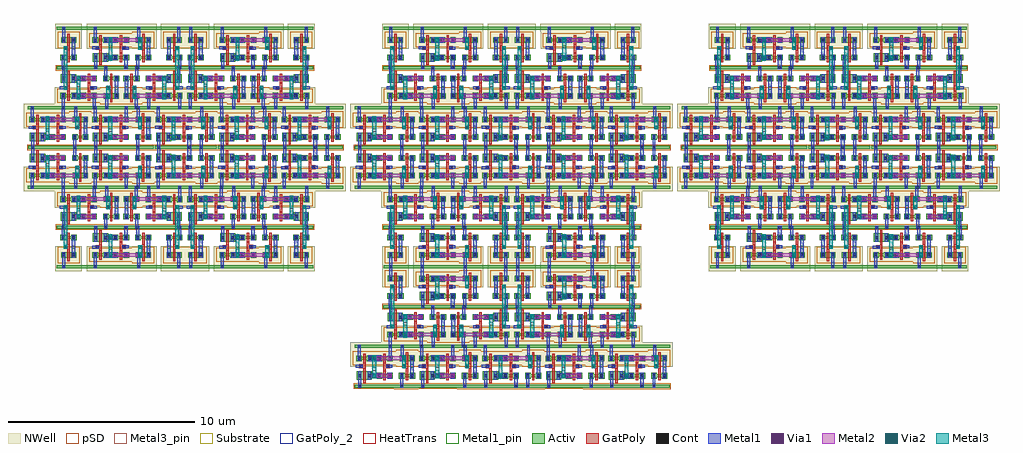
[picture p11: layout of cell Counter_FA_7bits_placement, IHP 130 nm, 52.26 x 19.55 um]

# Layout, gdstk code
from math import pi, radians
import gdstk
lib = gdstk.Library(unit=1e-6, precision=5e-09)
def R(c, l, rs):  # rectangles x0, y0, x1, y1
    for r in rs: c.add(gdstk.rectangle(r[:2], r[2:], *l))
Activ = (1, 0)
GatPoly = (5, 0)
GatPoly_2 = (5, 2)
Cont = (6, 0)
Metal1 = (8, 0)
Metal1_pin = (8, 2)
Metal2 = (10, 0)
pSD = (14, 0)
Via1 = (19, 0)
Via2 = (29, 0)
Metal3 = (30, 0)
Metal3_pin = (30, 2)
NWell = (31, 0)
Substrate = (40, 0)
HeatTrans = (51, 0)

pmos_8 = lib.new_cell('pmos$8')
R(pmos_8, Activ, [(0,0,0.3,0.3), (0.57,0,0.87,0.3), (0,0.075,0.87,0.225)])
R(pmos_8, GatPoly, [(0.37,-0.105,0.5,0.405), (0.37,-0.105,0.5,0.405)])
R(pmos_8, Cont, [(0.07,0.07,0.23,0.23), (0.64,0.07,0.8,0.23)])
R(pmos_8, Metal1, [(0.07,0.02,0.23,0.28), (0.07,0.02,0.23,0.28), (0.64,0.02,0.8,0.28), (0.64,0.02,0.8,0.28)])
R(pmos_8, pSD, [(-0.18,-0.225,1.05,0.525)])
R(pmos_8, NWell, [(-0.31,-0.31,1.18,0.61)])
R(pmos_8, Substrate, [(0.57,0,0.87,0.3)])
R(pmos_8, HeatTrans, [(0.37,-0.105,0.5,0.405)])
pmos_8.add(gdstk.Label('pmos', (0.435,0.15), layer=63, texttype=0))
pmos_8.add(gdstk.Label('pmos', (0.435,0.15), layer=51, texttype=0))

nmos_13 = lib.new_cell('nmos$13')
R(nmos_13, Activ, [(0,0,0.3,0.3), (0,0,0.81,0.45), (0.51,0,0.81,0.3)])
R(nmos_13, GatPoly, [(0.34,-0.18,0.47,0.63)])
R(nmos_13, GatPoly_2, [(0.34,-0.18,0.47,0.63)])
R(nmos_13, Cont, [(0.07,0.145,0.23,0.305), (0.58,0.145,0.74,0.305)])
R(nmos_13, Metal1, [(0.07,0,0.23,0.45), (0.58,0,0.74,0.45)])
R(nmos_13, Metal1_pin, [(0.07,0,0.23,0.45), (0.58,0,0.74,0.45)])
R(nmos_13, HeatTrans, [(0.34,-0.18,0.47,0.63)])
nmos_13.add(gdstk.Label('nmos', (0.405,0.225), layer=63, texttype=0))
nmos_13.add(gdstk.Label('nmos', (0.405,0.225), layer=51, texttype=0))

nmos_3_6 = lib.new_cell('nmos$3$6')
R(nmos_3_6, Activ, [(0,0,0.3,0.3), (0.57,0,0.87,0.3), (0,0.075,0.87,0.225)])
R(nmos_3_6, GatPoly, [(0.37,-0.105,0.5,0.405)])
R(nmos_3_6, GatPoly_2, [(0.37,-0.105,0.5,0.405)])
R(nmos_3_6, Cont, [(0.07,0.07,0.23,0.23), (0.64,0.07,0.8,0.23)])
R(nmos_3_6, Metal1, [(0.07,0.02,0.23,0.28), (0.64,0.02,0.8,0.28)])
R(nmos_3_6, Metal1_pin, [(0.07,0.02,0.23,0.28), (0.64,0.02,0.8,0.28)])
R(nmos_3_6, HeatTrans, [(0.37,-0.105,0.5,0.405)])
nmos_3_6.add(gdstk.Label('nmos', (0.435,0.15), layer=63, texttype=0))
nmos_3_6.add(gdstk.Label('nmos', (0.435,0.15), layer=51, texttype=0))

via1_constraint = lib.new_cell('Via1_constraint')
R(via1_constraint, Metal1, [(0,0,0.2,0.2)])
R(via1_constraint, Metal2, [(0,0,0.2,0.2)])
R(via1_constraint, Via1, [(0.005,0.005,0.195,0.195)])

via2_constraint = lib.new_cell('Via2_constraint')
R(via2_constraint, Metal2, [(-0.005,-0.005,0.195,0.195)])
R(via2_constraint, Via2, [(0,0,0.19,0.19)])
R(via2_constraint, Metal3, [(-0.005,-0.005,0.195,0.195)])

nand = lib.new_cell('NAND')
R(nand, Activ, [(-0.075,-0.175,2.075,-0.015), (-0.085,1.955,2.095,2.115)])
R(nand, GatPoly, [(1.45,0.615,1.58,1.16), (0.16,0.875,0.36,1.075), (0.36,0.875,0.49,1.145), (1.58,0.875,1.78,1.075)])
R(nand, Cont, [(0.09,-0.175,0.25,-0.015), (0.18,0.895,0.34,1.055), (1.595,0.895,1.755,1.055), (0.06,1.955,0.22,2.115), (1.72,1.955,1.88,2.115)])
R(nand, Metal1, [(0.09,-0.175,0.25,0.245), (1.69,0.315,1.89,0.615), (0.76,0.335,1.31,0.595), (0.18,0.895,0.34,1.055), (1.595,0.895,1.755,1.055), (0.625,1.25,1.325,1.55), (0.06,1.525,0.22,2.115), (1.72,1.525,1.88,2.115)])
R(nand, Metal1_pin, [(0.09,-0.175,0.25,-0.015), (0.18,0.895,0.34,1.055), (1.595,0.895,1.755,1.055), (0.06,1.955,0.22,2.115), (1.72,1.955,1.88,2.115)])
R(nand, Metal2, [(0.825,0.36,1.89,0.56)])
R(nand, pSD, [(-0.13,-0.24,2.115,0.06)])
R(nand, Metal3, [(0.855,0.325,1.055,1.57)])
R(nand, Metal3_pin, [(0.855,0.74,1.055,0.905)])
R(nand, NWell, [(-0.325,1.855,2.26,2.26)])
nand.add(gdstk.Reference(pmos_8, (1.95,1.245), rotation=pi, x_reflection=True))
nand.add(gdstk.Reference(nmos_13, (0.83,0.245), rotation=pi, x_reflection=True))
nand.add(gdstk.Reference(nmos_3_6, (1.95,0.315), rotation=pi, x_reflection=True))
nand.add(gdstk.Reference(pmos_8, (0.86,1.245), rotation=pi, x_reflection=True))
nand.add(gdstk.Reference(via1_constraint, (1.69,0.36)))
nand.add(gdstk.Reference(via2_constraint, (0.86,0.365)))
nand.add(gdstk.Reference(via2_constraint, (0.86,1.305)))
nand.add(gdstk.Reference(via1_constraint, (0.855,1.3)))
nand.add(gdstk.Label('VA', (1.63,1.035), layer=8, texttype=2))
nand.add(gdstk.Label('VSS', (0.16,-0.05), layer=8, texttype=2))
nand.add(gdstk.Label('VDD', (0.085,2.075), layer=8, texttype=2))
nand.add(gdstk.Label('VDD', (1.745,2.075), layer=8, texttype=2))
nand.add(gdstk.Label('VB', (0.215,1.025), layer=8, texttype=2))
nand.add(gdstk.Label('VB', (0.295,1.015), layer=8, texttype=25))
nand.add(gdstk.Label('VOUT', (0.97,0.84), layer=30, texttype=2))

nmos_1_4 = lib.new_cell('nmos$1$4')
R(nmos_1_4, Activ, [(0,-0.145,0.3,0.155), (0.57,-0.145,0.87,0.155), (0,-0.07,0.87,0.08)])
R(nmos_1_4, GatPoly, [(0.37,-0.25,0.5,0.405)])
R(nmos_1_4, Cont, [(0.07,-0.075,0.23,0.085), (0.64,-0.075,0.8,0.085)])
R(nmos_1_4, Metal1, [(0.07,-0.125,0.23,0.135), (0.64,-0.125,0.8,0.135)])
R(nmos_1_4, Metal1_pin, [(0.07,-0.125,0.23,0.135), (0.64,-0.125,0.8,0.135)])
R(nmos_1_4, HeatTrans, [(0.37,-0.25,0.5,0.405)])
nmos_1_4.add(gdstk.Label('nmos', (0.435,0.005), layer=63, texttype=0))
nmos_1_4.add(gdstk.Label('nmos', (0.435,0.005), layer=51, texttype=0))

pmos_1_4 = lib.new_cell('pmos$1$4')
R(pmos_1_4, Activ, [(0,0,0.3,0.3), (0,0,0.81,0.3), (0.51,0,0.81,0.3)])
R(pmos_1_4, GatPoly, [(0.34,-0.18,0.47,0.48), (0.34,-0.18,0.47,0.48)])
R(pmos_1_4, Cont, [(0.07,0.07,0.23,0.23), (0.58,0.07,0.74,0.23)])
R(pmos_1_4, Metal1, [(0.07,0,0.23,0.3), (0.07,0,0.23,0.3), (0.58,0,0.74,0.3), (0.58,0,0.74,0.3)])
R(pmos_1_4, pSD, [(-0.18,-0.3,0.99,0.6)])
R(pmos_1_4, NWell, [(-0.31,-0.315,1.12,0.61)])
R(pmos_1_4, Substrate, [(0.51,0,0.81,0.3)])
R(pmos_1_4, HeatTrans, [(0.34,-0.18,0.47,0.48)])
pmos_1_4.add(gdstk.Label('pmos', (0.405,0.15), layer=63, texttype=0))
pmos_1_4.add(gdstk.Label('pmos', (0.405,0.15), layer=51, texttype=0))

inv_d1_4 = lib.new_cell('INV_D1$4')
R(inv_d1_4, Activ, [(-0.655,-1.24,0.555,-1.08), (-0.64,0.89,0.575,1.05)])
R(inv_d1_4, GatPoly, [(-0.075,-0.2,0.055,0.005), (-0.275,-0.19,-0.075,0.01)])
R(inv_d1_4, Cont, [(-0.375,-1.24,-0.215,-1.08), (-0.255,-0.17,-0.095,-0.01), (-0.345,0.89,-0.185,1.05)])
R(inv_d1_4, Metal1, [(-0.375,-1.24,-0.215,-0.73), (0.165,-0.73,0.355,0.485), (-0.255,-0.17,-0.095,-0.01), (-0.345,0.485,-0.185,1.05)])
R(inv_d1_4, Metal1_pin, [(-0.375,-1.24,-0.215,-1.08), (-0.255,-0.17,-0.095,-0.01), (0.165,-0.17,0.355,0.01), (-0.345,0.89,-0.185,1.05)])
R(inv_d1_4, pSD, [(-0.705,-1.315,0.6,-1.015)])
R(inv_d1_4, NWell, [(-0.725,0.795,0.705,1.195)])
inv_d1_4.add(gdstk.Reference(nmos_1_4, (-0.445,-0.605)))
inv_d1_4.add(gdstk.Reference(pmos_1_4, (-0.415,0.185)))
inv_d1_4.add(gdstk.Label('VDD', (-0.215,1.025), layer=8, texttype=2))
inv_d1_4.add(gdstk.Label('VSS', (-0.26,-1.105), layer=8, texttype=2))
inv_d1_4.add(gdstk.Label('VIN', (-0.155,-0.05), layer=8, texttype=2))
inv_d1_4.add(gdstk.Label('VOUT', (0.315,-0.025), layer=8, texttype=2))
inv_d1_4.add(gdstk.Label('VIN', (-0.23,-0.145), layer=8, texttype=25))

and_ = lib.new_cell('AND')
R(and_, Metal1, [(0.285,1.145,0.665,1.305), (1.92,1.145,2.25,1.305)])
R(and_, Metal2, [(1.165,1.55,3,1.75)])
R(and_, Metal3, [(2.775,1.125,2.975,1.805)])
and_.add(gdstk.Reference(nand, (0.325,0.25)))
and_.add(gdstk.Reference(inv_d1_4, (3.05,1.315)))
and_.add(gdstk.Reference(via2_constraint, (2.78,1.555)))
and_.add(gdstk.Reference(via1_constraint, (2.775,1.125)))
and_.add(gdstk.Reference(via2_constraint, (2.78,1.125)))
and_.add(gdstk.Label('VB', (0.315,1.165), layer=8, texttype=25))
and_.add(gdstk.Label('VDD', (0.48,2.22), layer=8, texttype=25))
and_.add(gdstk.Label('VSS', (0.505,0.095), layer=8, texttype=25))
and_.add(gdstk.Label('VA', (2.2,1.155), layer=8, texttype=25))
and_.add(gdstk.Label('VOUT', (3.39,1.165), layer=8, texttype=25))

pmos_2_5 = lib.new_cell('pmos$2$5')
R(pmos_2_5, Activ, [(0,0,0.3,0.3), (0.57,0,0.87,0.3), (0,0.075,0.87,0.225)])
R(pmos_2_5, GatPoly, [(0.37,-0.105,0.5,0.405), (0.37,-0.105,0.5,0.405)])
R(pmos_2_5, Cont, [(0.07,0.07,0.23,0.23), (0.64,0.07,0.8,0.23)])
R(pmos_2_5, Metal1, [(0.07,0.02,0.23,0.28), (0.07,0.02,0.23,0.28), (0.64,0.02,0.8,0.28), (0.64,0.02,0.8,0.28)])
R(pmos_2_5, pSD, [(-0.18,-0.225,1.05,0.525)])
R(pmos_2_5, NWell, [(-0.31,-0.31,1.18,0.61)])
R(pmos_2_5, Substrate, [(0.57,0,0.87,0.3)])
R(pmos_2_5, HeatTrans, [(0.37,-0.105,0.5,0.405)])
pmos_2_5.add(gdstk.Label('pmos', (0.435,0.15), layer=63, texttype=0))
pmos_2_5.add(gdstk.Label('pmos', (0.435,0.15), layer=51, texttype=0))

nmos_2_1_3 = lib.new_cell('nmos$2$1$3')
R(nmos_2_1_3, Activ, [(0,0,0.3,0.3), (0,0,0.81,0.45), (0.51,0,0.81,0.3)])
R(nmos_2_1_3, GatPoly, [(0.34,-0.18,0.47,0.63)])
R(nmos_2_1_3, GatPoly_2, [(0.34,-0.18,0.47,0.63)])
R(nmos_2_1_3, Cont, [(0.07,0.145,0.23,0.305), (0.58,0.145,0.74,0.305)])
R(nmos_2_1_3, Metal1, [(0.07,0,0.23,0.45), (0.58,0,0.74,0.45)])
R(nmos_2_1_3, Metal1_pin, [(0.07,0,0.23,0.45), (0.58,0,0.74,0.45)])
R(nmos_2_1_3, HeatTrans, [(0.34,-0.18,0.47,0.63)])
nmos_2_1_3.add(gdstk.Label('nmos', (0.405,0.225), layer=63, texttype=0))
nmos_2_1_3.add(gdstk.Label('nmos', (0.405,0.225), layer=51, texttype=0))

nmos_3_1_3 = lib.new_cell('nmos$3$1$3')
R(nmos_3_1_3, Activ, [(0,0,0.3,0.3), (0.57,0,0.87,0.3), (0,0.075,0.87,0.225)])
R(nmos_3_1_3, GatPoly, [(0.37,-0.105,0.5,0.405)])
R(nmos_3_1_3, GatPoly_2, [(0.37,-0.105,0.5,0.405)])
R(nmos_3_1_3, Cont, [(0.07,0.07,0.23,0.23), (0.64,0.07,0.8,0.23)])
R(nmos_3_1_3, Metal1, [(0.07,0.02,0.23,0.28), (0.64,0.02,0.8,0.28)])
R(nmos_3_1_3, Metal1_pin, [(0.07,0.02,0.23,0.28), (0.64,0.02,0.8,0.28)])
R(nmos_3_1_3, HeatTrans, [(0.37,-0.105,0.5,0.405)])
nmos_3_1_3.add(gdstk.Label('nmos', (0.435,0.15), layer=63, texttype=0))
nmos_3_1_3.add(gdstk.Label('nmos', (0.435,0.15), layer=51, texttype=0))

via2_constraint_1 = lib.new_cell('Via2_constraint$1')
R(via2_constraint_1, Metal2, [(0,0,0.2,0.2)])
R(via2_constraint_1, Via2, [(0.005,0.005,0.195,0.195)])
R(via2_constraint_1, Metal3, [(0,0,0.2,0.2)])

via1_constraint_1 = lib.new_cell('Via1_constraint$1')
R(via1_constraint_1, Metal1, [(0,0,0.2,0.2)])
R(via1_constraint_1, Metal2, [(0,0,0.2,0.2)])
R(via1_constraint_1, Via1, [(0.005,0.005,0.195,0.195)])

nor = lib.new_cell('NOR')
R(nor, Activ, [(-0.065,-0.175,2.06,-0.015), (-0.085,1.955,2.07,2.115)])
R(nor, GatPoly, [(1.45,0.615,1.58,1.16), (1.58,0.865,1.78,1.065), (0.16,0.875,0.36,1.075), (0.36,0.875,0.49,1.145)])
R(nor, Cont, [(0.09,-0.175,0.25,-0.015), (1.71,-0.175,1.87,-0.015), (1.595,0.885,1.755,1.045), (0.18,0.895,0.34,1.055), (0.06,1.95,0.22,2.11)])
R(nor, Metal1, [(0.09,-0.175,0.25,0.245), (1.69,-0.175,1.89,0.315), (1.69,0.315,1.89,0.615), (0.6,0.335,1.31,0.595), (1.595,0.885,1.755,1.045), (0.18,0.895,0.34,1.055), (0.625,1.25,1.325,1.55), (1.705,1.265,1.895,1.525), (0.06,1.525,0.22,2.11)])
R(nor, Metal1_pin, [(0.09,-0.175,0.25,-0.015), (1.71,-0.175,1.87,-0.015), (1.595,0.885,1.755,1.045), (0.18,0.895,0.34,1.055), (0.06,1.95,0.22,2.11)])
R(nor, Metal2, [(0.845,1.3,1.895,1.5)])
R(nor, pSD, [(-0.13,-0.25,2.115,0.05)])
R(nor, Via1, [(1.705,1.31,1.895,1.5)])
R(nor, Metal3, [(0.855,0.295,1.055,1.54)])
R(nor, Metal3_pin, [(0.855,0.96,1.055,1.125)])
R(nor, NWell, [(-0.325,1.855,2.26,2.26)])
nor.add(gdstk.Reference(pmos_2_5, (1.95,1.245), rotation=pi, x_reflection=True))
nor.add(gdstk.Reference(nmos_2_1_3, (0.83,0.245), rotation=pi, x_reflection=True))
nor.add(gdstk.Reference(nmos_3_1_3, (1.95,0.315), rotation=pi, x_reflection=True))
nor.add(gdstk.Reference(pmos_2_5, (0.86,1.245), rotation=pi, x_reflection=True))
nor.add(gdstk.Reference(via2_constraint_1, (0.855,1.5), x_reflection=True))
nor.add(gdstk.Reference(via2_constraint_1, (0.855,0.565), x_reflection=True))
nor.add(gdstk.Reference(via1_constraint_1, (0.855,0.565), x_reflection=True))
nor.add(gdstk.Label('VB', (1.625,0.965), layer=8, texttype=2))
nor.add(gdstk.Label('VA', (0.235,0.975), layer=8, texttype=2))
nor.add(gdstk.Label('VSS', (1.78,-0.05), layer=8, texttype=2))
nor.add(gdstk.Label('VDD', (0.085,2.07), layer=8, texttype=2))
nor.add(gdstk.Label('VSS', (0.16,-0.05), layer=8, texttype=2))
nor.add(gdstk.Label('VB', (1.705,0.955), layer=8, texttype=25))
nor.add(gdstk.Label('VOUT', (0.97,1.025), layer=30, texttype=2))

pmos_1_1_3 = lib.new_cell('pmos$1$1$3')
R(pmos_1_1_3, Activ, [(0,0,0.3,0.3), (0,0,0.81,0.3), (0.51,0,0.81,0.3)])
R(pmos_1_1_3, GatPoly, [(0.34,-0.18,0.47,0.48), (0.34,-0.18,0.47,0.48)])
R(pmos_1_1_3, Cont, [(0.07,0.07,0.23,0.23), (0.58,0.07,0.74,0.23)])
R(pmos_1_1_3, Metal1, [(0.07,0,0.23,0.3), (0.07,0,0.23,0.3), (0.58,0,0.74,0.3), (0.58,0,0.74,0.3)])
R(pmos_1_1_3, pSD, [(-0.18,-0.3,0.99,0.6)])
R(pmos_1_1_3, NWell, [(-0.31,-0.315,1.12,0.61)])
R(pmos_1_1_3, Substrate, [(0.51,0,0.81,0.3)])
R(pmos_1_1_3, HeatTrans, [(0.34,-0.18,0.47,0.48)])
pmos_1_1_3.add(gdstk.Label('pmos', (0.405,0.15), layer=63, texttype=0))
pmos_1_1_3.add(gdstk.Label('pmos', (0.405,0.15), layer=51, texttype=0))

inv_d1_1_3 = lib.new_cell('INV_D1$1$3')
R(inv_d1_1_3, Activ, [(-0.68,-1.24,0.54,-1.08), (-0.655,0.89,0.575,1.05)])
R(inv_d1_1_3, GatPoly, [(-0.075,-0.2,0.055,0.005), (-0.275,-0.19,-0.075,0.01)])
R(inv_d1_1_3, Cont, [(-0.375,-1.24,-0.215,-1.08), (-0.255,-0.17,-0.095,-0.01), (-0.345,0.89,-0.185,1.05)])
R(inv_d1_1_3, Metal1, [(-0.375,-1.24,-0.215,-0.73), (0.165,-0.73,0.355,0.485), (-0.255,-0.17,-0.095,-0.01), (-0.345,0.485,-0.185,1.05)])
R(inv_d1_1_3, Metal1_pin, [(-0.375,-1.24,-0.215,-1.08), (-0.255,-0.17,-0.095,-0.01), (0.165,-0.17,0.355,0.01), (-0.345,0.89,-0.185,1.05)])
R(inv_d1_1_3, pSD, [(-0.705,-1.315,0.6,-1.015)])
R(inv_d1_1_3, NWell, [(-0.725,0.795,0.705,1.195)])
R(inv_d1_1_3, Substrate, [(0.095,0.185,0.395,0.485)])
inv_d1_1_3.add(gdstk.Reference(pmos_1_1_3, (-0.415,0.185)))
inv_d1_1_3.add(gdstk.Reference(nmos_1_4, (-0.445,-0.605)))
inv_d1_1_3.add(gdstk.Label('nmos', (-0.015,-0.75), layer=63, texttype=0))
inv_d1_1_3.add(gdstk.Label('VSS', (-0.26,-1.105), layer=8, texttype=2))
inv_d1_1_3.add(gdstk.Label('VDD', (-0.215,1.025), layer=8, texttype=2))
inv_d1_1_3.add(gdstk.Label('VIN', (-0.155,-0.05), layer=8, texttype=2))
inv_d1_1_3.add(gdstk.Label('VOUT', (0.315,-0.025), layer=8, texttype=2))
inv_d1_1_3.add(gdstk.Label('VIN', (-0.23,-0.145), layer=8, texttype=25))

c_or = lib.new_cell('OR')
R(c_or, Metal1, [(1.595,0.885,1.925,1.045), (-0.03,0.9,0.35,1.06)])
R(c_or, Metal2, [(0.84,1.3,2.675,1.5)])
R(c_or, Metal3, [(2.45,0.875,2.65,1.555)])
c_or.add(gdstk.Reference(nor, (0,0)))
c_or.add(gdstk.Reference(inv_d1_1_3, (2.725,1.065)))
c_or.add(gdstk.Reference(via2_constraint_1, (2.45,1.3)))
c_or.add(gdstk.Reference(via1_constraint_1, (2.45,0.875)))
c_or.add(gdstk.Reference(via2_constraint_1, (2.45,0.875)))
c_or.add(gdstk.Label('VB', (0,0.92), layer=8, texttype=25))
c_or.add(gdstk.Label('VDD', (0.165,1.975), layer=8, texttype=25))
c_or.add(gdstk.Label('VSS', (0.19,-0.15), layer=8, texttype=25))
c_or.add(gdstk.Label('VA', (1.875,0.895), layer=8, texttype=25))
c_or.add(gdstk.Label('VOUT', (3.03,0.99), layer=8, texttype=25))

xor_placement = lib.new_cell('XOR_placement')
xor_placement.add(gdstk.Reference(and_, (-0.16,3.03), x_reflection=True))
xor_placement.add(gdstk.Reference(c_or, (1.88,2.97)))
xor_placement.add(gdstk.Reference(inv_d1_4, (0.605,4.035)))
xor_placement.add(gdstk.Reference(inv_d1_4, (6.24,4.035), rotation=pi, x_reflection=True))
xor_placement.add(gdstk.Reference(and_, (7,3.03), rotation=pi))

xor_routed = lib.new_cell('XOR_routed')
R(xor_routed, Activ, [(0.125,4.405,6.99,4.565)])
R(xor_routed, Metal3, [(0.49,1.185,0.685,3.525), (6.475,1.185,6.675,3.525)])
xor_routed.add(gdstk.Reference(xor_placement, (0.16,-0.52)))
xor_routed.add(gdstk.Reference(via1_constraint, (0.49,3.325)))
xor_routed.add(gdstk.Reference(via2_constraint, (0.495,3.33)))
xor_routed.add(gdstk.Reference(via1_constraint, (0.485,1.185)))
xor_routed.add(gdstk.Reference(via2_constraint, (0.49,1.19)))
xor_routed.add(gdstk.Reference(via1_constraint, (6.475,3.325)))
xor_routed.add(gdstk.Reference(via2_constraint, (6.48,3.33)))
xor_routed.add(gdstk.Reference(via1_constraint, (6.475,1.185)))
xor_routed.add(gdstk.Reference(via2_constraint, (6.48,1.19)))

xor = lib.new_cell('XOR')
xor.add(gdstk.Reference(xor_routed, (0,0)))

c_fa = lib.new_cell('FA')
c_fa.add(gdstk.Reference(and_, (-0.9,0)))
c_fa.add(gdstk.Reference(and_, (2.47,0)))
c_fa.add(gdstk.Reference(and_, (9.24,0)))
c_fa.add(gdstk.Reference(c_or, (6.18,0.25)))
c_fa.add(gdstk.Reference(c_or, (12.93,0.25)))
c_fa.add(gdstk.Reference(xor, (0.76,2.06)))
c_fa.add(gdstk.Reference(xor, (7.565,2.06)))

fa__track_ = lib.new_cell('FA$(Track)')
fa__track_.add(gdstk.Reference(c_fa, (0.9,0)))

counter_fa_7bits_placeme = lib.new_cell('Counter_FA_7bits_placement')
r = gdstk.Reference(fa__track_, (13.37,-3.795)); r.repetition = gdstk.Repetition(3, 1, v1=(17.5,0), v2=(0,0)); counter_fa_7bits_placeme.add(r)
r = gdstk.Reference(fa__track_, (13.37,-3.485), x_reflection=True); r.repetition = gdstk.Repetition(3, 1, v1=(17.5,0), v2=(0,0)); counter_fa_7bits_placeme.add(r)
counter_fa_7bits_placeme.add(gdstk.Reference(fa__track_, (30.87,-16.575)))

lib.write_gds('Counter_FA_7bits_placement.gds')
